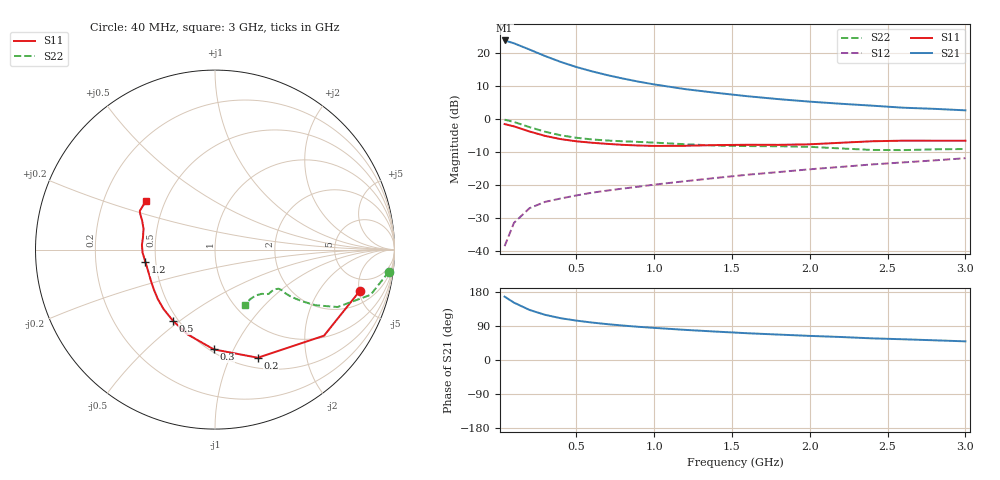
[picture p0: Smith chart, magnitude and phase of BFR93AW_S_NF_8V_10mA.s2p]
! Filename:  BFR93AWF.S2P  Version:  4.0
! Philips part #: BFR93AW  Date: Jun 1994
! Bias condition: Vce=8V, Ic=10mA
#  MHz  S  MA  R  50
! Freq  S11  S21  S12  S22  !GUM [dB]
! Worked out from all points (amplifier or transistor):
!   21 points, 40 MHz to 3 GHz, reference 50 ohm
!   highest |S21| = 23.7 dB at 40 MHz (marker M1)
!   |S21| within 3 dB of that: start of sweep to 212.8 MHz
!   unconditionally stable (mu >= 1): 960.8 MHz to end of sweep
!   at 300 MHz: K = 0.51, MSG = 22.0 dB, |S12| = -25.0 dB
!   at 1 GHz: K = 1.02, MAG = 14.4 dB, |S12| = -19.8 dB
!   at 3 GHz: K = 1.03, MAG = 6.1 dB, |S12| = -11.8 dB
!   lowest NFmin = 1.40 dB at 500 MHz
!   S11 on the Smith chart (normalised r, x): 40 MHz: 3.24, -5.05; 200 MHz: 0.62, -1.28; 300 MHz: 0.52, -0.84; 500 MHz: 0.47, -0.47; 1.2 GHz: 0.44, -0.07; 3 GHz: 0.39, +0.27
40  0.838 -16.1  15.37 167.2  0.012 81.6  0.977 -7.2
100  0.774 -38.3  13.93 151.4  0.027 70.6  0.903 -16.2
200  0.648 -68.4  11.2 132.1  0.045 60.2  0.754 -25.1
300  0.556 -90.7  8.936 119.2  0.056 55.0  0.642 -28.9
400  0.497 -107.7  7.291 110.3  0.063 53.6  0.568 -30.6
500  0.461 -120.4  6.109 104.0  0.07 54.1  0.521 -31.4
600  0.438 -130.9  5.255 98.9  0.077 55.4  0.492 -31.8
700  0.421 -139.3  4.599 94.6  0.083 56.9  0.473 -31.8
800  0.407 -146.7  4.087 90.9  0.089 58.4  0.461 -31.8
900  0.398 -153.4  3.669 87.6  0.095 60.1  0.451 -31.5
1000  0.392 -159.5  3.333 84.8  0.102 61.4  0.44 -31.2
1200  0.394 -169.9  2.827 79.5  0.115 64.0  0.416 -31.6
1400  0.404 -177.6  2.485 74.9  0.129 66.1  0.397 -33.9
1600  0.408 176.3  2.209 70.6  0.144 67.5  0.39 -37.4
1800  0.407 170.3  1.996 67.1  0.158 69.3  0.388 -39.5
2000  0.415 163.7  1.829 63.6  0.174 70.6  0.38 -40.8
2200  0.438 158.1  1.7 60.7  0.189 71.7  0.359 -43.3
2400  0.461 154.6  1.591 57.1  0.206 72.4  0.341 -48.5
2600  0.471 152.8  1.482 54.7  0.221 72.6  0.339 -55.0
2800  0.47 149.5  1.424 52.0  0.237 73.4  0.348 -59.3
3000  0.47 145.0  1.352 49.2  0.256 73.7  0.352 -62.0
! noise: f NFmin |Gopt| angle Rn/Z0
500  1.4  0.259  44  0.167
1000  2  0.234  136.2  0.218
2000  3  0.566  -154.8  0.14
